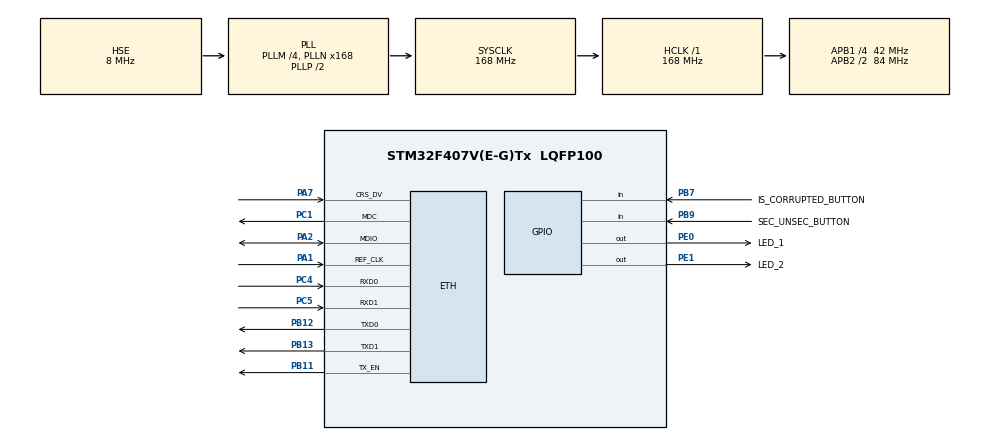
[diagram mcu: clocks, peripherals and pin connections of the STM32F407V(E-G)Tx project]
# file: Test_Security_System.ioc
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ETH.MediaInterface=ETH_MEDIA_INTERFACE_RMII
FREERTOS.Tasks01=defaultTask,0,1024,StartDefaultTask,Default,NULL,Dynamic,NULL,NULL
FREERTOS.configGENERATE_RUN_TIME_STATS=1
FREERTOS.configTOTAL_HEAP_SIZE=32000
FREERTOS.configUSE_TRACE_FACILITY=1
LWIP.LWIP_SO_RCVTIMEO=1
LWIP.LWIP_SO_SNDTIMEO=1
LWIP.PBUF_POOL_BUFSIZE=792
LWIP.SLIPIF_THREAD_STACKSIZE=1124
LWIP.TCPIP_THREAD_STACKSIZE=1124
LWIP.TCP_MSS=1080
LWIP.Version=v2.1.2_Cube
Mcu.Family=STM32F4
Mcu.Name=STM32F407V(E-G)Tx
Mcu.Package=LQFP100
NVIC.ETH_IRQn=true\:6\:0\:true\:false\:true\:true\:false\:true
NVIC.PriorityGroup=NVIC_PRIORITYGROUP_4
NVIC.TIM1_UP_TIM10_IRQn=true\:0\:0\:false\:false\:true\:false\:false\:true
NVIC.TimeBase=TIM1_UP_TIM10_IRQn
NVIC.TimeBaseIP=TIM1
PA1.Mode=RMII
PA1.Signal=ETH_REF_CLK
PA13.Mode=Serial_Wire
PA13.Signal=SYS_JTMS-SWDIO
PA14.Mode=Serial_Wire
PA14.Signal=SYS_JTCK-SWCLK
PA2.Mode=RMII
PA2.Signal=ETH_MDIO
PA7.Mode=RMII
PA7.Signal=ETH_CRS_DV
PB11.Mode=RMII
PB11.Signal=ETH_TX_EN
PB12.Mode=RMII
PB12.Signal=ETH_TXD0
PB13.Mode=RMII
PB13.Signal=ETH_TXD1
PB7.GPIO_Label=IS_CORRUPTED_BUTTON
PB7.Signal=GPIO_Input
PB9.GPIO_Label=SEC_UNSEC_BUTTON
PB9.Signal=GPIO_Input
PC1.Mode=RMII
PC1.Signal=ETH_MDC
PC4.Mode=RMII
PC4.Signal=ETH_RXD0
PC5.Mode=RMII
PC5.Signal=ETH_RXD1
PE0.GPIO_Label=LED_1
PE0.Signal=GPIO_Output
PE1.GPIO_Label=LED_2
PE1.Signal=GPIO_Output
PH0-OSC_IN.Mode=HSE-External-Oscillator
PH0-OSC_IN.Signal=RCC_OSC_IN
PH1-OSC_OUT.Mode=HSE-External-Oscillator
PH1-OSC_OUT.Signal=RCC_OSC_OUT
ProjectManager.HeapSize=0x200
ProjectManager.StackSize=0x400
ProjectManager.TargetToolchain=STM32CubeIDE
RCC.48MHZClocksFreq_Value=48000000
RCC.AHBFreq_Value=168000000
RCC.APB1CLKDivider=RCC_HCLK_DIV4
RCC.APB1Freq_Value=42000000
RCC.APB1TimFreq_Value=84000000
RCC.APB2CLKDivider=RCC_HCLK_DIV2
RCC.APB2Freq_Value=84000000
RCC.APB2TimFreq_Value=168000000
RCC.CortexFreq_Value=168000000
RCC.HCLKFreq_Value=168000000
RCC.HSE_VALUE=8000000
RCC.HSI_VALUE=16000000
RCC.LSE_VALUE=32768
RCC.PLLM=4
RCC.PLLN=168
RCC.PLLQ=7
RCC.PLLSourceVirtual=RCC_PLLSOURCE_HSE
RCC.SYSCLKFreq_VALUE=168000000
RCC.SYSCLKSource=RCC_SYSCLKSOURCE_PLLCLK
RCC.VCOOutputFreq_Value=336000000
VP_FREERTOS_VS_CMSIS_V1.Mode=CMSIS_V1
VP_LWIP_VS_Enabled.Mode=Enabled
VP_RNG_VS_RNG.Mode=RNG_Activate
VP_SYS_VS_tim1.Mode=TIM1
board=custom

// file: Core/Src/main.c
/* USER CODE BEGIN Header */
/**
  ******************************************************************************
  * @file           : main.c
  * @brief          : Main program body
  ******************************************************************************
  * @attention
  *
  * <h2><center>&copy; Copyright (c) 2020 STMicroelectronics.
  * All rights reserved.</center></h2>
  *
  * This software component is licensed by ST under BSD 3-Clause license,
  * the "License"; You may not use this file except in compliance with the
  * License. You may obtain a copy of the License at:
  *                        opensource.org/licenses/BSD-3-Clause
  *
  ******************************************************************************
  */
/* USER CODE END Header */

#include "main.h"
#include "cmsis_os.h"
#include "lwip.h"

/* USER CODE BEGIN Includes */
#include "api.h"
#include "crypto_services.h"
#include <string.h>
#include "network_services.h"
#include <stdbool.h>
/* USER CODE END Includes */

/* USER CODE BEGIN PM */
#define SEND_TIMEOUT 800
#define RECEIVE_TIMEOUT 800

/* USER CODE END PM */

RNG_HandleTypeDef hrng;

osThreadId defaultTaskHandle;
/* USER CODE BEGIN PV */
extern struct netif gnetif;
uint8_t cipher_key[16] = {0, 1, 2, 3, 4, 5, 6, 7, 8, 9, 10, 11, 12, 13, 14, 15};
uint8_t cipher_IV[16] = {0, 1, 2, 3, 4, 5, 6, 7, 8, 9, 10, 11, 12, 13, 14, 15};

uint8_t sending_to_client[1024];
osThreadId TCPservice_id;

/* USER CODE END PV */

void SystemClock_Config(void);
static void MX_GPIO_Init(void);
static void MX_RNG_Init(void);
void StartDefaultTask(void const * argument);

/* USER CODE BEGIN PFP */
static void Thread_TestService(void const * argument);
static void TurnOnLed1();
/* USER CODE END PFP */

int main(void)
{

  /* MCU Configuration--------------------------------------------------------*/

  /* Reset of all peripherals, Initializes the Flash interface and the Systick. */
  HAL_Init();

  /* Configure the system clock */
  SystemClock_Config();

  /* Initialize all configured peripherals */
  MX_GPIO_Init();
  MX_RNG_Init();

  /* Create the thread(s) */
  /* definition and creation of defaultTask */
  osThreadDef(defaultTask, StartDefaultTask, osPriorityNormal, 0, 1024);
  defaultTaskHandle = osThreadCreate(osThread(defaultTask), NULL);

  /* Start scheduler */
  osKernelStart();

  /* We should never get here as control is now taken by the scheduler */
  /* Infinite loop */
  while (1)
  {

  }
}

void SystemClock_Config(void)
{
  RCC_OscInitTypeDef RCC_OscInitStruct = {0};
  RCC_ClkInitTypeDef RCC_ClkInitStruct = {0};

  /** Configure the main internal regulator output voltage
  */
  __HAL_RCC_PWR_CLK_ENABLE();
  __HAL_PWR_VOLTAGESCALING_CONFIG(PWR_REGULATOR_VOLTAGE_SCALE1);
  /** Initializes the CPU, AHB and APB busses clocks
  */
  RCC_OscInitStruct.OscillatorType = RCC_OSCILLATORTYPE_HSE;
  RCC_OscInitStruct.HSEState = RCC_HSE_ON;
  RCC_OscInitStruct.PLL.PLLState = RCC_PLL_ON;
  RCC_OscInitStruct.PLL.PLLSource = RCC_PLLSOURCE_HSE;
  RCC_OscInitStruct.PLL.PLLM = 4;
  RCC_OscInitStruct.PLL.PLLN = 168;
  RCC_OscInitStruct.PLL.PLLP = RCC_PLLP_DIV2;
  RCC_OscInitStruct.PLL.PLLQ = 7;
  if (HAL_RCC_OscConfig(&RCC_OscInitStruct) != HAL_OK)
  {
    Error_Handler();
  }
  /** Initializes the CPU, AHB and APB busses clocks
  */
  RCC_ClkInitStruct.ClockType = RCC_CLOCKTYPE_HCLK|RCC_CLOCKTYPE_SYSCLK
                              |RCC_CLOCKTYPE_PCLK1|RCC_CLOCKTYPE_PCLK2;
  RCC_ClkInitStruct.SYSCLKSource = RCC_SYSCLKSOURCE_PLLCLK;
  RCC_ClkInitStruct.AHBCLKDivider = RCC_SYSCLK_DIV1;
  RCC_ClkInitStruct.APB1CLKDivider = RCC_HCLK_DIV4;
  RCC_ClkInitStruct.APB2CLKDivider = RCC_HCLK_DIV2;

  if (HAL_RCC_ClockConfig(&RCC_ClkInitStruct, FLASH_LATENCY_5) != HAL_OK)
  {
    Error_Handler();
  }
}

static void MX_RNG_Init(void)
{

  hrng.Instance = RNG;
  if (HAL_RNG_Init(&hrng) != HAL_OK)
  {
    Error_Handler();
  }

}

static void MX_GPIO_Init(void)
{
  GPIO_InitTypeDef GPIO_InitStruct = {0};

  /* GPIO Ports Clock Enable */
  __HAL_RCC_GPIOH_CLK_ENABLE();
  __HAL_RCC_GPIOC_CLK_ENABLE();
  __HAL_RCC_GPIOA_CLK_ENABLE();
  __HAL_RCC_GPIOB_CLK_ENABLE();
  __HAL_RCC_GPIOE_CLK_ENABLE();

  /*Configure GPIO pin Output Level */
  HAL_GPIO_WritePin(GPIOE, LED_1_Pin|LED_2_Pin, GPIO_PIN_RESET);

  /*Configure GPIO pins : IS_CORRUPTED_BUTTON_Pin SEC_UNSEC_BUTTON_Pin */
  GPIO_InitStruct.Pin = IS_CORRUPTED_BUTTON_Pin|SEC_UNSEC_BUTTON_Pin;
  GPIO_InitStruct.Mode = GPIO_MODE_INPUT;
  GPIO_InitStruct.Pull = GPIO_NOPULL;
  HAL_GPIO_Init(GPIOB, &GPIO_InitStruct);

  /*Configure GPIO pins : LED_1_Pin LED_2_Pin */
  GPIO_InitStruct.Pin = LED_1_Pin|LED_2_Pin;
  GPIO_InitStruct.Mode = GPIO_MODE_OUTPUT_PP;
  GPIO_InitStruct.Pull = GPIO_NOPULL;
  GPIO_InitStruct.Speed = GPIO_SPEED_FREQ_LOW;
  HAL_GPIO_Init(GPIOE, &GPIO_InitStruct);

}

/* USER CODE BEGIN 4 */

static void TurnOnLed1()
{
	HAL_GPIO_WritePin(LED_1_GPIO_Port, LED_1_Pin, SET);
}

static void TurnOnLed2()
{
	HAL_GPIO_WritePin(LED_2_GPIO_Port, LED_2_Pin, SET);
}

static void TurnOffLed1()
{
	HAL_GPIO_WritePin(LED_1_GPIO_Port, LED_1_Pin, RESET);
}

static void TurnOffLed2()
{
	HAL_GPIO_WritePin(LED_2_GPIO_Port, LED_2_Pin, RESET);
}

static void ToggleLed1()
{
	HAL_GPIO_TogglePin(LED_1_GPIO_Port, LED_1_Pin);
}

static void ToggleLed2()
{
	HAL_GPIO_TogglePin(LED_2_GPIO_Port, LED_2_Pin);
}

/**
 * Process incoming command
 * @param command: pointer to command buffer [in]
 * @param command_length: length of command buffer [in]
 * @return 1 if command is STATUS, 0 otherwise
 */
int ProcessCommand(uint8_t* command, uint16_t command_length)
{
  typedef struct {
      char command_text[20];
      void (*command)();
  } pdu_command;
  uint8_t total_number_of_commands = 7;
  pdu_command commands_list[7] =
  {
      {
          "TURN ON 1",
      		&TurnOnLed1
      },
      {
          "TURN ON 2",
					&TurnOnLed2

      },
      {
          "TURN OFF 1",
					&TurnOffLed1
      },
      {
          "TURN OFF 2",
					&TurnOffLed2
      },
      {
          "TOGGLE 1",
					&ToggleLed1
      },
      {
          "TOGGLE 2",
					&ToggleLed2
      },
      {
          "STATUS"
      }
  };
	//Just a lot of strncmp
	for (int i = 0; i < total_number_of_commands - 1; i++)
	{
		if (strncmp((char*)command, (char*)commands_list[i].command_text, command_length) == 0)
		{
			commands_list[i].command();
			return 0;
		}
	}

	//If this is STATUS command
	if (strncmp((char*)command, (char*)commands_list[total_number_of_commands - 1].command_text, command_length) == 0)
	{
		return 1;
	}

	return -1;
}

static void Thread_TestService(void const * argument)
{
  int sock, newconn, size;
  struct sockaddr_in address, remotehost;

 /* create a TCP socket */
  sock = socket(AF_INET, SOCK_STREAM, 0);

  /* bind to port 80 at any interface */
  address.sin_family = AF_INET;
  address.sin_port = htons(7);
  address.sin_addr.s_addr = INADDR_ANY;

  bind(sock, (struct sockaddr *)&address, sizeof (address));

  /* listen for incoming connections (TCP listen backlog = 1) */
  listen(sock, 1);
  size = sizeof(remotehost);
  while (1)
	{
		newconn = accept(sock, (struct sockaddr *)&remotehost, (socklen_t *)&size);
		if (HAL_GPIO_ReadPin(SEC_UNSEC_BUTTON_GPIO_Port, SEC_UNSEC_BUTTON_Pin) == SET)
		{
			RunSecuredSession(newconn);
		}
		else
		{
			RunUnsecuredSession(newconn);
		}
		close(newconn);
	}
}
/* USER CODE END 4 */

void StartDefaultTask(void const * argument)
{
  /* init code for LWIP */
  MX_LWIP_Init();
  /* USER CODE BEGIN 5 */
  /* Infinite loop */

  uint8_t encrypted_key[AES_KEY_SIZE_128] = {0, 1, 2, 3, 4, 5, 6, 7, 8, 9, 10, 11, 12, 13, 14 ,15};
  uint8_t encrypted_iv[AES_KEY_SIZE_128] = {0, 1, 2, 3, 4, 5, 6, 7, 8, 9, 10, 11, 12, 13, 14 ,15};

  uint8_t test_data[36] =
  { 0, 1, 2, 3, 4, 0, 0, 7, 8, 9, 10, 11, 12, 13, 0, 15, 16, 17,
        0, 1, 2, 3, 4, 5, 6, 7, 8, 9, 10, 11, 12, 0, 14, 15, 16, 17 };
  uint8_t test_data_2[36] =
  { 0, 1, 2, 3, 4, 5, 6, 7, 8, 9, 10, 11, 12, 13, 14, 15, 16, 17,
        0, 1, 2, 3, 4, 5, 6, 7, 8, 9, 10, 11, 12, 13, 14, 15, 16, 17 };
  uint8_t temp[36], decrypted[36];

  Encrypt(test_data, 36, encrypted_key, encrypted_iv, temp);
  Encrypt(temp, 36, encrypted_key, encrypted_iv, decrypted);

  Encrypt(test_data_2, 36, encrypted_key, encrypted_iv, temp);
  Encrypt(temp, 36, encrypted_key, encrypted_iv, decrypted);

  uint32_t heap_size;

  InitSecuredNetworkService();
  for (;;)
  {
  	if (gnetif.ip_addr.addr != 0)
  	{
  		TCPservice_id = sys_thread_new("TestService", (void*) Thread_TestService, NULL, 3000, osPriorityAboveNormal);
  		break;
  	}
  }

  for(;;)
  {
    osDelay(1);
    heap_size = xPortGetFreeHeapSize();
  }
  /* USER CODE END 5 */
}

 /**
  * @brief  Period elapsed callback in non blocking mode
  * @note   This function is called  when TIM1 interrupt took place, inside
  * HAL_TIM_IRQHandler(). It makes a direct call to HAL_IncTick() to increment
  * a global variable "uwTick" used as application time base.
  * @param  htim : TIM handle
  * @retval None
  */
void HAL_TIM_PeriodElapsedCallback(TIM_HandleTypeDef *htim)
{
  if (htim->Instance == TIM1) {
    HAL_IncTick();
  }
}

void Error_Handler(void)
{
}

/************************ (C) COPYRIGHT STMicroelectronics *****END OF FILE****/
